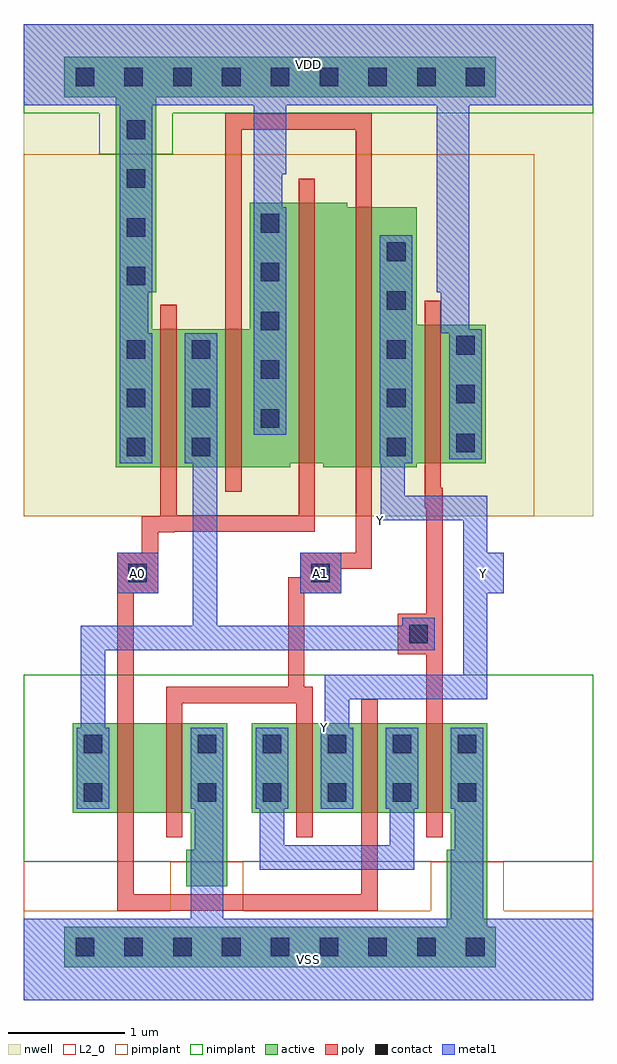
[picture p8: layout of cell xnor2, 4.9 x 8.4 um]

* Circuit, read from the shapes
.subckt xnor2 A0 A1 VDD VSS Y
M1 n1 A0 n2 VSS nfet w=0.77u l=0.14u
M2 VSS A1 n1 VSS nfet w=0.77u l=0.14u
M3 Y A1 n3 VSS nfet w=0.77u l=0.14u
M4 n3 A0 Y VSS nfet w=0.77u l=0.14u
M5 VSS n2 n3 VSS nfet w=0.77u l=0.14u
M6 n2 A0 VDD VDD pfet w=1.19u l=0.14u
M7 VDD A1 n2 VDD pfet w=1.19u l=0.14u
M8 n4 A0 VDD VDD pfet w=2.24u l=0.14u
M9 Y A1 n4 VDD pfet w=2.24u l=0.14u
M10 VDD n2 Y VDD pfet w=1.19u l=0.14u
.ends

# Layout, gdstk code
import gdstk
lib = gdstk.Library(unit=1e-6, precision=1e-09)
def R(c, l, rs):  # rectangles x0, y0, x1, y1
    for r in rs: c.add(gdstk.rectangle(r[:2], r[2:], *l))
def A(c, l, x, y, w, h, nx, ny, dx, dy):  # array of equal rectangles
    R(c, l, [(x+i*dx, y+j*dy, x+i*dx+w, y+j*dy+h) for i in range(nx) for j in range(ny)])
def P(c, l, *ps):  # polygons
    for p in ps: c.add(gdstk.Polygon(p, *l))
L2_0 = (2, 0)
nwell = (3, 0)
active = (6, 0)
poly = (17, 0)
pimplant = (25, 0)
nimplant = (26, 0)
contact = (30, 0)
metal1 = (31, 0)

adk_poly_m1 = lib.new_cell('ADK_poly_m1')
R(adk_poly_m1, poly, [(-0.175,-0.175,0.175,0.175)])
R(adk_poly_m1, contact, [(-0.08,-0.08,0.08,0.08)])
R(adk_poly_m1, metal1, [(-0.175,-0.175,0.175,0.175)])

xnor2 = lib.new_cell('xnor2')
R(xnor2, L2_0, [(0,0,4.9,2.8)])
R(xnor2, nwell, [(0,4.165,4.9,8.4)])
P(xnor2, nwell, [(3.8,4.165),(3.8,4.2),(4.395,4.2),(4.395,6.23),(3.8,6.23),(3.8,7.245),(3.205,7.245),(3.205,7.28),(1.525,7.28),(1.525,6.195),(0.37,6.195),(0.37,4.165)])
R(xnor2, active, [(0.35,0.28,4.06,0.63), (3.64,0.63,3.99,1.295), (1.4,0.98,1.75,1.295), (1.435,1.295,1.75,1.61), (3.675,1.295,3.99,1.61), (0.42,1.61,0.805,2.38), (0.42,1.61,1.75,2.38), (1.365,1.61,1.75,2.38), (1.96,1.61,3.99,2.38), (1.96,1.61,2.345,2.38), (3.605,1.61,3.99,2.38), (0.79,4.585,1.175,5.775), (3.59,4.62,3.975,5.81), (0.79,5.775,1.105,6.09), (0.79,6.09,1.14,7.77), (0.35,7.77,4.06,8.12)])
P(xnor2, active, [(2.295,4.585),(2.295,4.62),(2.575,4.62),(2.575,4.585),(3.38,4.585),(3.38,4.62),(3.975,4.62),(3.975,5.81),(3.38,5.81),(3.38,6.825),(2.785,6.825),(2.785,6.86),(1.945,6.86),(1.945,5.775),(0.79,5.775),(0.79,4.585)])
A(xnor2, poly, 2.345, 1.4, 0.14, 0.21, 3, 2, 0.56, 0.98)
A(xnor2, poly, 2.345, 1.61, 0.14, 0.77, 3, 1, 0.56, 0)
R(xnor2, poly, [(0.805,1.4,0.945,1.61), (1.225,1.4,1.365,1.61), (0.805,1.61,0.945,2.38), (1.225,1.61,1.365,2.38), (0.805,2.38,0.945,2.59), (1.225,2.38,1.365,2.59), (0.805,2.555,0.945,3.5), (1.225,2.555,2.485,2.695), (3.465,2.555,3.605,4.41), (2.275,2.695,2.415,3.64), (3.22,2.975,3.57,3.325), (3.45,4.235,3.59,4.41), (1.175,4.375,1.315,4.585), (1.735,4.375,1.875,4.585), (2.855,4.375,2.995,4.585), (2.365,4.41,2.505,4.62), (3.45,4.41,3.59,4.62), (1.175,4.585,1.315,5.775), (1.735,4.585,1.875,5.775), (2.855,4.585,2.995,6.825), (2.365,4.62,2.505,6.86), (3.45,4.62,3.59,5.81), (1.175,5.775,1.315,5.985), (1.735,5.775,1.875,5.985), (3.45,5.81,3.59,6.02), (2.855,6.825,2.995,7.035), (2.365,6.86,2.505,7.07)])
P(xnor2, poly, [(1.175,4.03),(2.505,4.03),(2.505,4.41),(2.365,4.41),(2.365,4.17),(1.315,4.17),(1.315,4.41),(1.175,4.41)],
  [(1.735,5.95),(1.875,5.95),(1.875,7.49),(2.855,7.49),(2.855,7),(2.995,7),(2.995,7.63),(1.735,7.63)],
  [(2.73,3.71),(2.995,3.71),(2.995,4.425),(2.855,4.425),(2.855,3.85),(2.73,3.85)],
  [(1.015,3.85),(1.155,3.85),(1.155,4.025),(1.295,4.025),(1.295,4.165),(1.015,4.165)],
  [(0.805,0.77),(3.045,0.77),(3.045,1.435),(2.905,1.435),(2.905,0.91),(0.945,0.91),(0.945,1.435),(0.805,1.435)])
R(xnor2, pimplant, [(0,0,4.9,0.77), (1.26,0.77,1.89,1.19), (3.5,0.77,4.13,1.19), (0,4.165,4.395,7.28)])
R(xnor2, nimplant, [(0,1.19,2.17,2.8), (1.54,1.19,4.9,2.8), (0.65,7.28,1.28,7.63), (0,7.63,4.9,8.4)])
A(xnor2, contact, 0.445, 0.375, 0.16, 0.16, 9, 2, 0.42, 7.49)
A(xnor2, contact, 1.495, 1.705, 0.16, 0.16, 5, 2, 0.56, 0.42)
A(xnor2, contact, 0.885, 4.68, 0.16, 0.16, 1, 3, 0, 0.42)
A(xnor2, contact, 1.445, 4.68, 0.16, 0.16, 1, 3, 0, 0.42)
A(xnor2, contact, 3.125, 4.68, 0.16, 0.16, 1, 5, 0, 0.42)
A(xnor2, contact, 3.72, 4.715, 0.16, 0.16, 1, 3, 0, 0.42)
A(xnor2, contact, 2.04, 4.925, 0.16, 0.16, 1, 5, 0, 0.42)
A(xnor2, contact, 0.885, 6.15, 0.16, 0.16, 1, 4, 0, 0.42)
R(xnor2, contact, [(0.515,1.705,0.675,1.865), (0.515,2.125,0.675,2.285), (3.315,3.07,3.475,3.23)])
A(xnor2, metal1, 1.435, 1.645, 0.28, 0.7, 5, 1, 0.56, 0)
R(xnor2, metal1, [(0,0,4.9,0.7), (1.435,0.7,1.715,1.015), (3.675,0.7,3.955,1.295), (1.435,1.015,1.715,1.295), (1.47,1.295,1.715,1.645), (3.71,1.295,3.955,1.645), (0.455,1.645,0.735,2.345), (3.255,3.01,3.535,3.29), (1.455,3.22,1.665,4.62), (0.805,3.5,1.155,3.85), (2.38,3.5,2.73,3.85), (3.78,3.5,4.13,3.85), (3.78,3.5,4.13,3.85), (0.825,4.62,1.105,5.74), (1.385,4.62,1.665,5.74), (3.065,4.62,3.345,6.58), (3.66,4.655,3.94,5.775), (1.98,4.865,2.26,6.825), (0.825,5.74,1.07,6.09), (3.59,5.74,3.835,6.09), (0.825,6.09,1.105,7.7), (3.555,6.09,3.835,7.7), (1.98,6.79,2.225,7.105), (1.98,7.105,2.26,7.385), (1.98,7.385,2.26,7.7), (0,7.7,4.9,8.4)])
P(xnor2, metal1, [(0.49,2.345),(0.7,2.345),(0.7,3.01),(3.255,3.01),(3.255,3.22),(0.49,3.22)],
  [(2.03,1.12),(3.36,1.12),(3.36,1.645),(3.15,1.645),(3.15,1.33),(2.24,1.33),(2.24,1.645),(2.03,1.645)],
  [(3.07,4.13),(3.78,4.13),(3.78,3.85),(3.99,3.85),(3.99,4.34),(3.28,4.34),(3.28,4.62),(3.07,4.62)],
  [(2.59,2.345),(2.8,2.345),(2.8,2.59),(3.99,2.59),(3.99,3.5),(3.78,3.5),(3.78,2.8),(2.59,2.8)])
xnor2.add(gdstk.Reference(adk_poly_m1, (2.555,3.675)))
xnor2.add(gdstk.Reference(adk_poly_m1, (0.98,3.675)))
xnor2.add(gdstk.Label('VSS', (2.45,0.35), layer=131, texttype=0))
xnor2.add(gdstk.Label('VDD', (2.45,8.05), layer=131, texttype=0))
xnor2.add(gdstk.Label('Y', (3.955,3.675), layer=131, texttype=0))
xnor2.add(gdstk.Label('A0', (0.98,3.675), layer=131, texttype=0))
xnor2.add(gdstk.Label('A1', (2.555,3.675), layer=131, texttype=0))
xnor2.add(gdstk.Label('VSS', (2.45,0.35), layer=31, texttype=0))
xnor2.add(gdstk.Label('VDD', (2.45,8.05), layer=31, texttype=0))
xnor2.add(gdstk.Label('Y', (3.955,3.675), layer=31, texttype=0))
xnor2.add(gdstk.Label('Y', (3.07,4.13), layer=31, texttype=0))
xnor2.add(gdstk.Label('Y', (3.955,3.675), layer=31, texttype=0))
xnor2.add(gdstk.Label('Y', (2.59,2.345), layer=31, texttype=0))
xnor2.add(gdstk.Label('A0', (0.98,3.675), layer=31, texttype=0))
xnor2.add(gdstk.Label('A1', (2.555,3.675), layer=31, texttype=0))

lib.write_gds('xnor2.gds')
